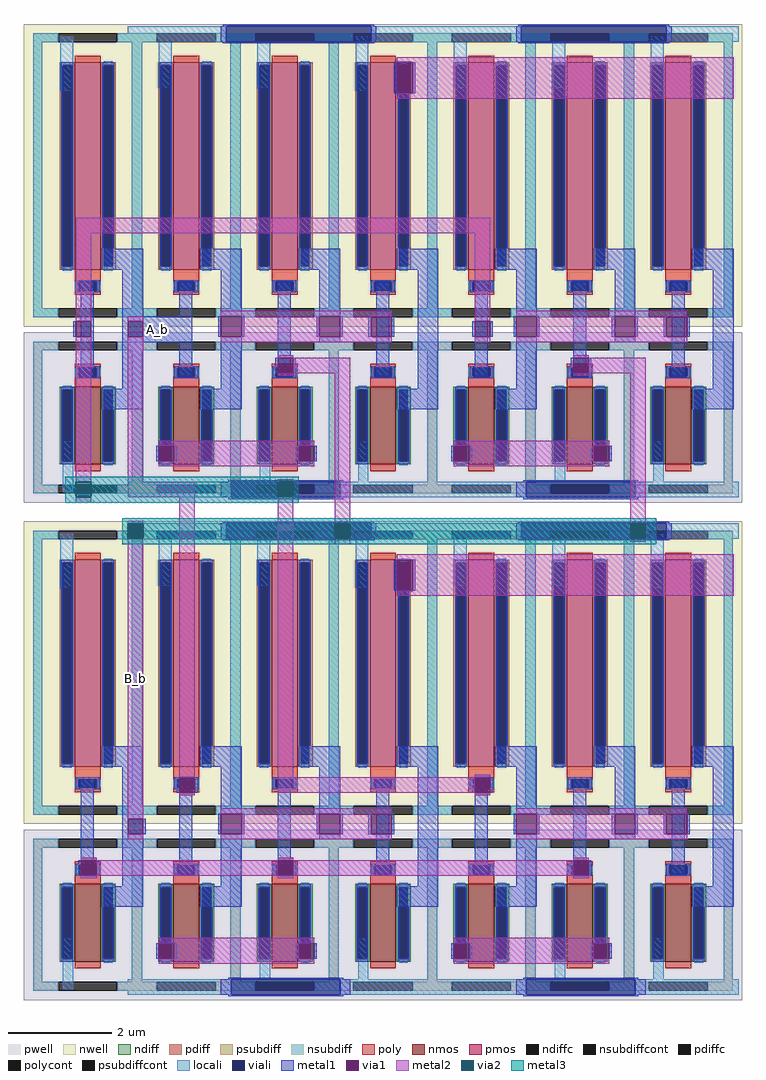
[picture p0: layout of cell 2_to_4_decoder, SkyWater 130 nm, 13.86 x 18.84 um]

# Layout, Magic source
magic
tech sky130A
<< metal1 >>
rect 525 790 530 850
rect 560 790 565 850
rect 0 350 130 360
rect -95 320 -90 350
rect -60 320 -55 350
rect 0 320 10 350
rect 40 320 130 350
rect 675 320 680 350
rect 710 320 715 350
rect 0 310 130 320
rect 295 250 300 280
rect 330 250 335 280
rect 865 250 870 280
rect 900 250 905 280
rect 525 -170 530 -110
rect 560 -170 565 -110
rect 105 -560 110 -530
rect 140 -560 145 -530
rect 675 -560 680 -530
rect 710 -560 715 -530
rect 5 -640 10 -610
rect 40 -640 45 -610
rect -85 -720 -80 -690
rect -50 -720 -45 -690
rect 295 -720 300 -690
rect 330 -720 335 -690
rect 865 -720 870 -690
rect 900 -720 905 -690
<< via1 >>
rect 530 790 560 850
rect -90 320 -60 350
rect 10 320 40 350
rect 680 320 710 350
rect 300 250 330 280
rect 870 250 900 280
rect 530 -170 560 -110
rect 110 -560 140 -530
rect 680 -560 710 -530
rect 10 -640 40 -610
rect -80 -720 -50 -690
rect 300 -720 330 -690
rect 870 -720 900 -690
<< metal2 >>
rect 530 850 1180 860
rect 560 790 1180 850
rect 530 780 1180 790
rect -90 520 710 550
rect -90 350 -60 520
rect -90 40 -60 320
rect 10 350 40 360
rect 10 40 40 320
rect 680 350 710 520
rect 680 310 710 320
rect 300 280 330 285
rect 870 280 900 285
rect 330 250 440 280
rect 300 245 330 250
rect 300 40 330 45
rect 10 10 140 40
rect -90 0 -60 10
rect 10 -40 40 -35
rect 10 -610 40 -70
rect 110 -530 140 10
rect 300 -530 330 10
rect 410 -40 440 250
rect 900 250 1010 280
rect 870 245 900 250
rect 410 -80 440 -70
rect 980 -40 1010 250
rect 980 -75 1010 -70
rect 530 -110 1180 -100
rect 560 -170 1180 -110
rect 530 -180 1180 -170
rect 680 -530 710 -525
rect 300 -560 680 -530
rect 110 -565 140 -560
rect 680 -565 710 -560
rect 10 -650 40 -640
rect -80 -690 -50 -685
rect 300 -690 330 -685
rect 870 -690 900 -685
rect -50 -720 300 -690
rect 330 -720 870 -690
rect -80 -725 -50 -720
rect 300 -725 330 -720
rect 870 -725 900 -720
<< via2 >>
rect -90 10 -60 40
rect 10 -70 40 -40
rect 300 10 330 40
rect 410 -70 440 -40
rect 980 -70 1010 -40
<< metal3 >>
rect -110 40 340 50
rect -110 10 -90 40
rect -60 10 300 40
rect 330 10 340 40
rect -110 0 340 10
rect 0 -40 1030 -30
rect 0 -70 10 -40
rect 40 -70 410 -40
rect 440 -70 980 -40
rect 1010 -70 1030 -40
rect 0 -80 1030 -70
use and  and_0
transform 1 0 580 0 1 -630
box -10 -330 616 594
use and  and_1
transform 1 0 10 0 1 -630
box -10 -330 616 594
use and  and_2
transform 1 0 580 0 1 330
box -10 -330 616 594
use and  and_3
transform 1 0 10 0 1 330
box -10 -330 616 594
use inv  inv_0
transform 1 0 -160 0 1 -580
box -30 -380 216 544
use inv  inv_1
transform 1 0 -160 0 1 380
box -30 -380 216 544
<< labels >>
flabel space 0 310 135 360 0 FreeSans 320 0 0 0 A_b
flabel metal2 10 -610 40 -70 0 FreeSans 320 0 0 0 B_b
<< end >>

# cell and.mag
magic
tech sky130A
magscale 1 2
<< locali >>
rect 0 1120 380 1180
rect 940 1120 1220 1180
rect 120 940 170 1120
rect 500 940 550 1120
rect 510 -580 550 -420
rect 0 -640 400 -580
rect 820 -640 1220 -580
<< viali >>
rect 380 1120 940 1180
rect 400 -640 820 -580
<< metal1 >>
rect 368 1180 952 1186
rect 360 1120 380 1180
rect 940 1120 960 1180
rect 368 1114 952 1120
rect 280 240 440 320
rect 660 240 820 320
rect 200 -170 250 190
rect 360 60 440 240
rect 350 -20 360 60
rect 440 -20 450 60
rect 360 -220 440 -20
rect 580 -170 630 190
rect 740 60 820 240
rect 730 -20 740 60
rect 820 -20 830 60
rect 930 -20 940 60
rect 1020 -20 1030 60
rect 740 -40 820 -20
rect 280 -300 440 -220
rect 110 -500 120 -440
rect 180 -500 190 -440
rect 650 -500 660 -440
rect 720 -500 730 -440
rect 388 -580 832 -574
rect 360 -640 400 -580
rect 820 -640 860 -580
rect 388 -646 832 -640
<< via1 >>
rect 360 -20 440 60
rect 740 -20 820 60
rect 940 -20 1020 60
rect 120 -500 180 -440
rect 660 -500 720 -440
<< metal2 >>
rect 360 60 1020 80
rect 440 -20 740 60
rect 820 -20 940 60
rect 360 -40 1020 -20
rect 120 -440 720 -420
rect 180 -500 660 -440
rect 120 -520 720 -500
use inv  inv_0
transform 1 0 800 0 1 100
box -60 -760 432 1088
use sky130_fd_pr__nfet_01v8_Y5UG24  sky130_fd_pr__nfet_01v8_Y5UG24_0
transform 1 0 606 0 1 -331
box -246 -329 246 329
use sky130_fd_pr__nfet_01v8_Y5UG24  sky130_fd_pr__nfet_01v8_Y5UG24_1
transform 1 0 226 0 1 -331
box -246 -329 246 329
use sky130_fd_pr__pfet_01v8_TSNZVH  sky130_fd_pr__pfet_01v8_TSNZVH_0
transform 1 0 606 0 1 604
box -246 -584 246 584
use sky130_fd_pr__pfet_01v8_TSNZVH  sky130_fd_pr__pfet_01v8_TSNZVH_1
transform 1 0 226 0 1 604
box -246 -584 246 584
<< end >>

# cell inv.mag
magic
tech sky130A
magscale 1 2
<< locali >>
rect 80 830 130 1040
rect 90 -720 130 -520
<< metal1 >>
rect 240 140 400 220
rect 160 -270 210 90
rect 320 -320 400 140
rect 240 -400 400 -320
use sky130_fd_pr__nfet_01v8_Y5UG24  sky130_fd_pr__nfet_01v8_Y5UG24_0
transform 1 0 186 0 1 -431
box -246 -329 246 329
use sky130_fd_pr__pfet_01v8_TSNZVH  sky130_fd_pr__pfet_01v8_TSNZVH_0
transform 1 0 186 0 1 504
box -246 -584 246 584
<< end >>

# cell sky130_fd_pr__nfet_01v8_Y5UG24: kit device sky130_fd_pr__nfet_01v8, w 1.5 l 0.5 m 1 nf 1 diffcov 100 polycov 100 guard 1 glc 0 grc 0 gtc 1 gbc 1 tbcov 100 rlcov 100 topc 1 botc 0 poverlap 0 doverlap 1 lmin 0.15 wmin 0.42 compatible {sky130_fd_pr__nfet_01v8 sky130_fd_pr__nfet_01v8_lvt sky130_fd_bs_flash__special_sonosfet_star sky130_fd_pr__nfet_g5v0d10v5 sky130_fd_pr__nfet_05v0_nvt sky130_fd_pr__nfet_03v3_nvt} full_metal 1 viasrc 100 viadrn 100 viagate 100 viagb 0 viagr 0 viagl 0 viagt 0

# cell sky130_fd_pr__pfet_01v8_TSNZVH: kit device sky130_fd_pr__pfet_01v8, w 4 l 0.5 m 1 nf 1 diffcov 100 polycov 100 guard 1 glc 0 grc 0 gtc 1 gbc 1 tbcov 100 rlcov 100 topc 0 botc 1 poverlap 0 doverlap 1 lmin 0.15 wmin 0.42 compatible {sky130_fd_pr__pfet_01v8 sky130_fd_pr__pfet_01v8_lvt sky130_fd_pr__pfet_01v8_hvt sky130_fd_pr__pfet_g5v0d10v5} full_metal 1 viasrc 100 viadrn 100 viagate 100 viagb 0 viagr 0 viagl 0 viagt 0
